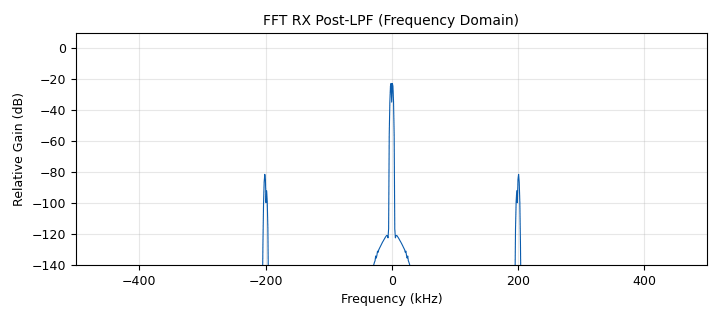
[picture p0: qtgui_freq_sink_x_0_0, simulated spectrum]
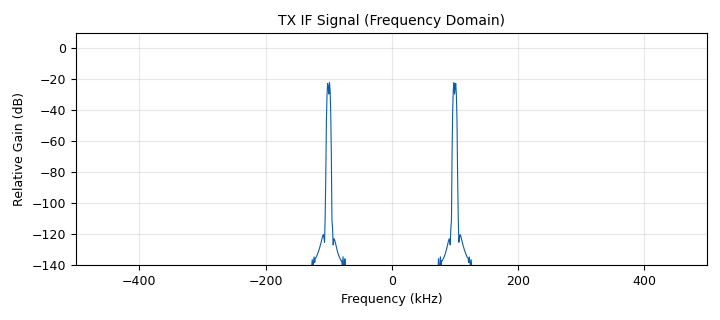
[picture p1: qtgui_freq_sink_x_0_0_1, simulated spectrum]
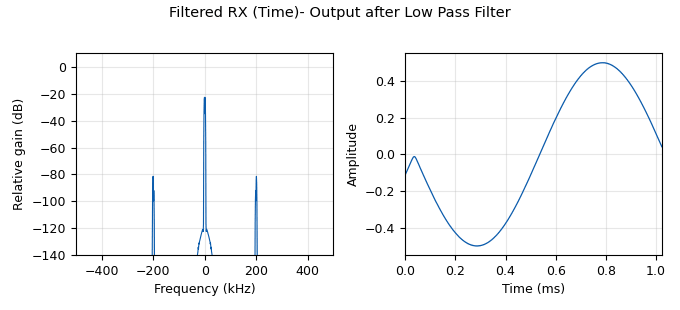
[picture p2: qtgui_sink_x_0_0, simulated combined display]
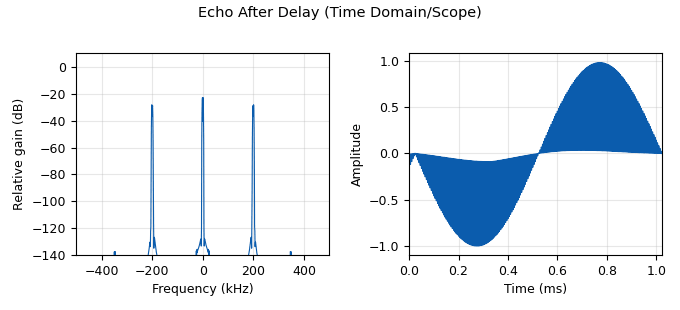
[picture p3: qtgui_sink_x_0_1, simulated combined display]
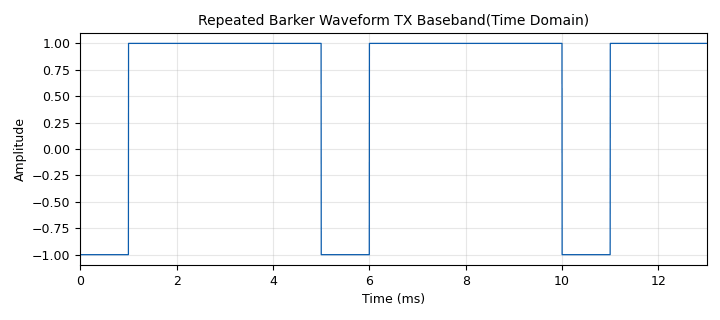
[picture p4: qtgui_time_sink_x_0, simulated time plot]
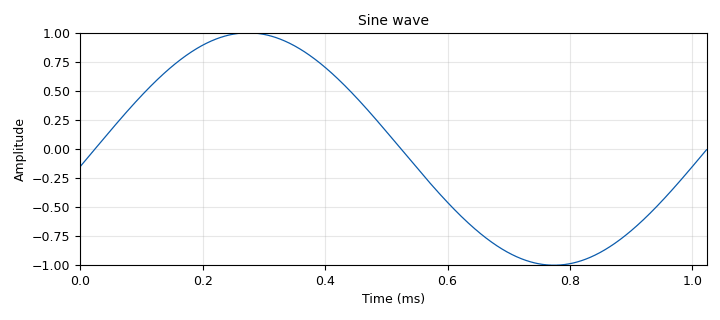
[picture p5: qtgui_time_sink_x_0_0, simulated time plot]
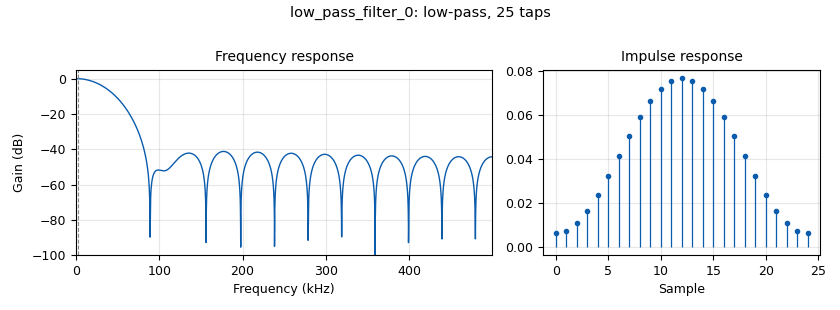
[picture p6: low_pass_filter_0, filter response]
options:
  parameters:
    generate_options: qt_gui
    id: barkercodes
    output_language: python
    title: Not titled yet
  states: {}

blocks:
- name: samp_rate
  id: variable
  parameters:
    value: '1000000'
  states: {}
- name: Baseband_Modulation_analog_sig
  id: analog_sig_source_x
  parameters:
    amp: '1'
    comment: |-
      Purpose: Generates a 1 kHz sine wave that modulates the Barker sequence
      Result: Barker code is now a sine wave modulated by binary bits
    freq: '1000'
    offset: '0'
    phase: '0'
    samp_rate: samp_rate
    type: float
    waveform: analog.GR_SIN_WAVE
  states: {}
- name: Pulse_Shaping_Upsampling
  id: blocks_repeat
  parameters:
    comment: Why? Increases pulse duration for better energy and detection
    interp: '1000'
    type: float
  states: {}
- name: analog_const_source_x_0
  id: analog_const_source_x
  parameters:
    const: '1'
    type: float
  states: {}
- name: blocks_delay_0
  id: blocks_delay
  parameters:
    comment: |-
      Simulates target echo return delay
      In real radar: delay = round-trip time to target
      In simulation: artificially delay signal to mimic target at distance
      3000, 5000, or 10000 samples (adjustable—key parameter!)
    delay: '10000'
    type: float
  states: {}
- name: blocks_file_sink_0
  id: blocks_file_sink
  parameters:
    comment: |-
      Format: Binary float (32-bit)
      (835,216 samples)
    file: C:\Users\maila\IMA312_GNU_Demo\transmit.dat
    type: float
    unbuffered: 'True'
  states: {}
- name: blocks_file_sink_0_0
  id: blocks_file_sink
  parameters:
    comment: |-
      Binary float (32-bit)
      (800,064 samples)
    file: C:\Users\maila\IMA312_GNU_Demo\receive.dat
    type: float
    unbuffered: 'True'
  states: {}
- name: blocks_head_0
  id: blocks_head
  parameters:
    comment: |-
      Purpose: Limits output to finite length (avoids infinite streaming in simulation)
      Why 800,064?
      As per paper: ensures enough samples for correlation processing
      Max unambiguous range = 13,000 samples = 1950 km
    num_items: '800064'
    type: float
  states: {}
- name: blocks_multiply_xx_0_0
  id: blocks_multiply_xx
  parameters:
    comment: |-
      Demodulates echo back to baseband 
      (typical radar RX chain)
    type: float
  states: {}
- name: blocks_multiply_xx_0_1
  id: blocks_multiply_xx
  parameters:
    comment: |-
      Simulates upconversion to Intermediate Frequency 
      (typical in radar TX chain)
    type: float
  states: {}
- name: blocks_multiply_xx_0_Baseband_Modulation
  id: blocks_multiply_xx
  parameters:
    comment: 'Output: TX Baseband signal = Barker × Sine'
    type: float
  states: {}
- name: blocks_throttle_0
  id: blocks_throttle
  parameters:
    samples_per_second: samp_rate
    type: float
  states: {}
- name: blocks_throttle_0_0
  id: blocks_throttle
  parameters:
    samples_per_second: samp_rate
    type: float
  states: {}
- name: blocks_throttle_0_0_0
  id: blocks_throttle
  parameters:
    samples_per_second: samp_rate
    type: float
  states: {}
- name: blocks_throttle_0_0_0_0
  id: blocks_throttle
  parameters:
    samples_per_second: samp_rate
    type: float
  states: {}
- name: blocks_throttle_0_0_0_1
  id: blocks_throttle
  parameters:
    samples_per_second: samp_rate
    type: float
  states: {}
- name: blocks_throttle_0_0_0_2
  id: blocks_throttle
  parameters:
    samples_per_second: samp_rate
    type: float
  states: {}
- name: blocks_throttle_0_0_0_2_0
  id: blocks_throttle
  parameters:
    samples_per_second: samp_rate
    type: float
  states: {}
- name: blocks_throttle_0_0_0_2_1
  id: blocks_throttle
  parameters:
    samples_per_second: samp_rate
    type: float
  states: {}
- name: blocks_vco_f_0
  id: blocks_vco_f
  parameters:
    amplitude: '1'
    comment: |-
      formula: sensitivity/(2π) = 100KHz
      Purpose: Simulates upconversion to Intermediate Frequency (typical in radar TX chain)
    samp_rate: samp_rate
    sensitivity: '628000'
  states: {}
- name: blocks_vector_source_x_0
  id: blocks_vector_source_x
  parameters:
    repeat: 'True'
    type: float
    vector: (1, 1, 1, -1,1)
  states: {}
- name: low_pass_filter_0
  id: low_pass_filter
  parameters:
    comment: |-
      Removes high-frequency components and harmonics from downconversion
      Filters out noise above 2 kHz
      Ensures clean baseband signal for detection
    cutoff_freq: '2000'
    gain: '1'
    interp: '1'
    samp_rate: samp_rate
    type: interp_fir_filter_fff
    width: ' 100000'
    win: window.WIN_HAMMING
  states: {}
- name: qtgui_freq_sink_x_0
  id: qtgui_freq_sink_x
  parameters:
    bw: samp_rate
    fc: '0'
    fftsize: '1024'
    name: '"VCO output"'
    type: float
  states: {}
- name: qtgui_freq_sink_x_0_0
  id: qtgui_freq_sink_x
  parameters:
    bw: samp_rate
    comment: Verify filtering worked
    fc: '0'
    fftsize: '1024'
    name: '"FFT RX Post-LPF (Frequency Domain)"'
    type: float
  states: {}
- name: qtgui_freq_sink_x_0_0_1
  id: qtgui_freq_sink_x
  parameters:
    bw: samp_rate
    comment: Confirm 100 kHz carrier
    fc: '0'
    fftsize: '1024'
    name: "\"\tTX IF Signal (Frequency Domain)\""
    type: float
  states: {}
- name: qtgui_sink_x_0_0
  id: qtgui_sink_x
  parameters:
    bw: samp_rate
    comment: Final clean received signal
    fc: '0'
    fftsize: '1024'
    name: '"Filtered RX (Time)- Output after Low Pass Filter"'
    type: float
  states: {}
- name: qtgui_sink_x_0_1
  id: qtgui_sink_x
  parameters:
    bw: samp_rate
    comment: Verify delay/target simulation
    fc: '0'
    fftsize: '1024'
    name: "\"\tEcho After Delay (Time Domain/Scope)\""
    type: float
  states: {}
- name: qtgui_sink_x_0_1_0
  id: qtgui_sink_x
  parameters:
    bw: samp_rate
    comment: Verify upconversion to 100 kHz
    fc: '0'
    fftsize: '1024'
    name: '"Carrier"'
    type: float
  states: {}
- name: qtgui_time_sink_x_0
  id: qtgui_time_sink_x
  parameters:
    autoscale: 'True'
    comment: Verify pulse shaping
    name: '"Repeated Barker Waveform TX Baseband(Time Domain)"'
    size: '13000'
    srate: samp_rate
    type: float
  states: {}
- name: qtgui_time_sink_x_0_0
  id: qtgui_time_sink_x
  parameters:
    name: '"Sine wave"'
    size: '1024'
    srate: samp_rate
    type: float
  states: {}
- name: qtgui_time_sink_x_0_0_0
  id: qtgui_time_sink_x
  parameters:
    comment: Verify baseband modulation
    name: '"TX Baseband after Barker × Sine (Time Domain)"'
    size: '1024'
    srate: samp_rate
    type: float
  states: {}

connections:
- [Baseband_Modulation_analog_sig, '0', blocks_multiply_xx_0_Baseband_Modulation, '1']
- [Baseband_Modulation_analog_sig, '0', blocks_throttle_0_0, '0']
- [Pulse_Shaping_Upsampling, '0', blocks_multiply_xx_0_Baseband_Modulation, '0']
- [Pulse_Shaping_Upsampling, '0', blocks_throttle_0, '0']
- [analog_const_source_x_0, '0', blocks_vco_f_0, '0']
- [blocks_delay_0, '0', blocks_multiply_xx_0_0, '0']
- [blocks_head_0, '0', blocks_file_sink_0_0, '0']
- [blocks_multiply_xx_0_0, '0', blocks_throttle_0_0_0_1, '0']
- [blocks_multiply_xx_0_0, '0', low_pass_filter_0, '0']
- [blocks_multiply_xx_0_1, '0', blocks_delay_0, '0']
- [blocks_multiply_xx_0_1, '0', blocks_throttle_0_0_0_2_1, '0']
- [blocks_multiply_xx_0_Baseband_Modulation, '0', blocks_file_sink_0, '0']
- [blocks_multiply_xx_0_Baseband_Modulation, '0', blocks_multiply_xx_0_1, '0']
- [blocks_multiply_xx_0_Baseband_Modulation, '0', blocks_throttle_0_0_0, '0']
- [blocks_throttle_0, '0', qtgui_time_sink_x_0, '0']
- [blocks_throttle_0_0, '0', qtgui_time_sink_x_0_0, '0']
- [blocks_throttle_0_0_0, '0', qtgui_time_sink_x_0_0_0, '0']
- [blocks_throttle_0_0_0_0, '0', qtgui_freq_sink_x_0_0, '0']
- [blocks_throttle_0_0_0_0, '0', qtgui_sink_x_0_0, '0']
- [blocks_throttle_0_0_0_1, '0', qtgui_sink_x_0_1, '0']
- [blocks_throttle_0_0_0_2, '0', qtgui_freq_sink_x_0, '0']
- [blocks_throttle_0_0_0_2_0, '0', qtgui_sink_x_0_1_0, '0']
- [blocks_throttle_0_0_0_2_1, '0', qtgui_freq_sink_x_0_0_1, '0']
- [blocks_vco_f_0, '0', blocks_multiply_xx_0_0, '1']
- [blocks_vco_f_0, '0', blocks_multiply_xx_0_1, '1']
- [blocks_vco_f_0, '0', blocks_throttle_0_0_0_2, '0']
- [blocks_vco_f_0, '0', blocks_throttle_0_0_0_2_0, '0']
- [blocks_vector_source_x_0, '0', Pulse_Shaping_Upsampling, '0']
- [low_pass_filter_0, '0', blocks_head_0, '0']
- [low_pass_filter_0, '0', blocks_throttle_0_0_0_0, '0']

metadata:
  file_format: 1
  grc_version: 3.10.12.0
